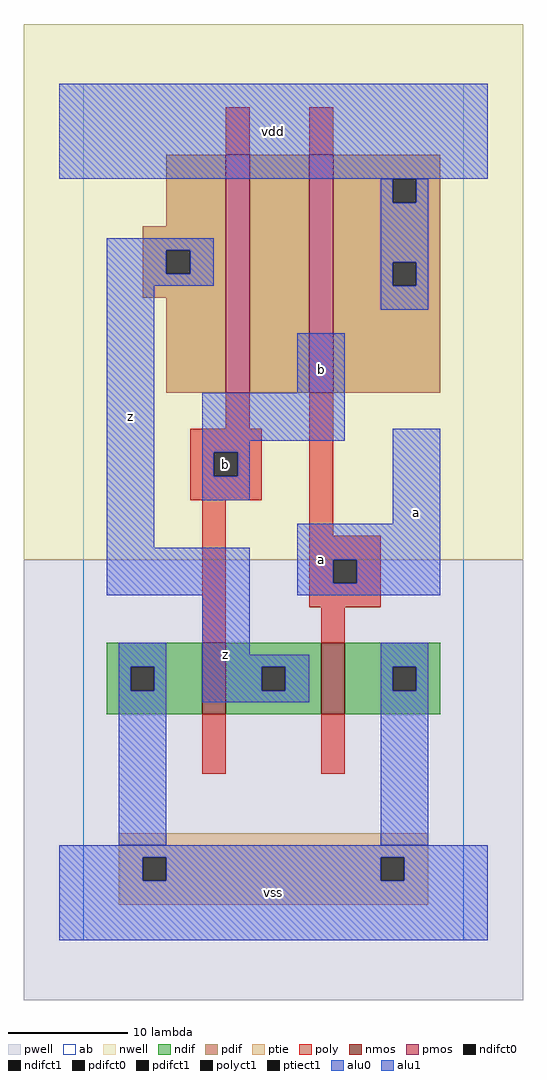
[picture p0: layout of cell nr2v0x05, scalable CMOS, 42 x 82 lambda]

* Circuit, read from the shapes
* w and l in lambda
.subckt nr2v0x05 a b vdd vss z
M1 z b vss vss nfet w=6 l=2
M2 vss a z vss nfet w=6 l=2
M3 n1 b z n2 pfet w=20 l=2
M4 vdd a n1 n2 pfet w=20 l=2
.ends

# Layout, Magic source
magic
tech scmos
<< ab >>
rect 0 0 32 72
<< nwell >>
rect -5 32 37 77
<< pwell >>
rect -5 -5 37 32
<< poly >>
rect 12 66 14 70
rect 19 66 21 70
rect 12 43 14 46
rect 9 41 15 43
rect 9 39 11 41
rect 13 39 15 41
rect 9 37 15 39
rect 10 25 12 37
rect 19 34 21 46
rect 19 32 25 34
rect 19 30 21 32
rect 23 30 25 32
rect 19 28 25 30
rect 20 25 22 28
rect 10 14 12 19
rect 20 14 22 19
<< ndif >>
rect 2 23 10 25
rect 2 21 4 23
rect 6 21 10 23
rect 2 19 10 21
rect 12 23 20 25
rect 12 21 15 23
rect 17 21 20 23
rect 12 19 20 21
rect 22 23 30 25
rect 22 21 26 23
rect 28 21 30 23
rect 22 19 30 21
<< pdif >>
rect 7 60 12 66
rect 5 58 12 60
rect 5 56 7 58
rect 9 56 12 58
rect 5 54 12 56
rect 7 46 12 54
rect 14 46 19 66
rect 21 64 30 66
rect 21 62 26 64
rect 28 62 30 64
rect 21 57 30 62
rect 21 55 26 57
rect 28 55 30 57
rect 21 46 30 55
<< alu1 >>
rect -2 64 34 72
rect 2 58 11 59
rect 2 56 7 58
rect 9 56 11 58
rect 2 55 11 56
rect 2 33 6 55
rect 18 46 22 51
rect 10 42 22 46
rect 10 41 14 42
rect 10 39 11 41
rect 13 39 14 41
rect 10 37 14 39
rect 26 35 30 43
rect 2 29 14 33
rect 18 32 30 35
rect 18 30 21 32
rect 23 30 30 32
rect 18 29 30 30
rect 10 24 14 29
rect 10 23 19 24
rect 10 21 15 23
rect 17 21 19 23
rect 10 20 19 21
rect -2 7 34 8
rect -2 5 5 7
rect 7 5 25 7
rect 27 5 34 7
rect -2 0 34 5
<< ptie >>
rect 3 7 29 9
rect 3 5 5 7
rect 7 5 25 7
rect 27 5 29 7
rect 3 3 29 5
<< nmos >>
rect 10 19 12 25
rect 20 19 22 25
<< pmos >>
rect 12 46 14 66
rect 19 46 21 66
<< polyct1 >>
rect 11 39 13 41
rect 21 30 23 32
<< ndifct0 >>
rect 4 21 6 23
rect 26 21 28 23
<< ndifct1 >>
rect 15 21 17 23
<< ptiect1 >>
rect 5 5 7 7
rect 25 5 27 7
<< pdifct0 >>
rect 26 62 28 64
rect 26 55 28 57
<< pdifct1 >>
rect 7 56 9 58
<< alu0 >>
rect 25 62 26 64
rect 28 62 29 64
rect 25 57 29 62
rect 25 55 26 57
rect 28 55 29 57
rect 25 53 29 55
rect 3 23 7 25
rect 3 21 4 23
rect 6 21 7 23
rect 3 8 7 21
rect 25 23 29 25
rect 25 21 26 23
rect 28 21 29 23
rect 25 8 29 21
<< labels >>
rlabel alu1 4 44 4 44 6 z
rlabel alu1 12 24 12 24 6 z
rlabel polyct1 12 40 12 40 6 b
rlabel alu1 16 4 16 4 6 vss
rlabel alu1 20 32 20 32 6 a
rlabel alu1 20 48 20 48 6 b
rlabel alu1 16 68 16 68 6 vdd
rlabel alu1 28 36 28 36 6 a
<< end >>
